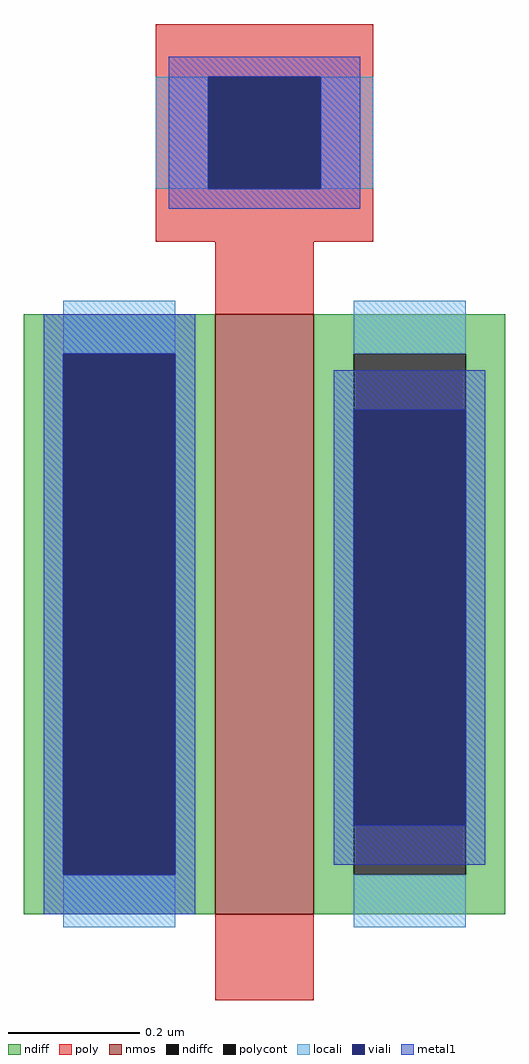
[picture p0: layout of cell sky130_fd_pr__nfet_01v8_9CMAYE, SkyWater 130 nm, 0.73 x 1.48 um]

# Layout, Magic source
magic
tech sky130A
magscale 1 2
<< nmos >>
rect -15 -122 15 60
<< ndiff >>
rect -73 48 -15 60
rect -73 -110 -61 48
rect -27 -110 -15 48
rect -73 -122 -15 -110
rect 15 48 73 60
rect 15 -110 27 48
rect 61 -110 73 48
rect 15 -122 73 -110
<< ndiffc >>
rect -61 -110 -27 48
rect 27 -110 61 48
<< poly >>
rect -33 132 33 148
rect -33 98 -17 132
rect 17 98 33 132
rect -33 82 33 98
rect -15 60 15 82
rect -15 -148 15 -122
<< polycont >>
rect -17 98 17 132
<< locali >>
rect -33 98 -17 132
rect 17 98 33 132
rect -61 48 -27 64
rect -61 -126 -27 -110
rect 27 48 61 64
rect 27 -126 61 -110
<< viali >>
rect -17 98 17 132
rect -61 -110 -27 48
rect 27 -95 61 31
<< metal1 >>
rect -29 132 29 138
rect -29 98 -17 132
rect 17 98 29 132
rect -29 92 29 98
rect -67 48 -21 60
rect -67 -110 -61 48
rect -27 -110 -21 48
rect 21 31 67 43
rect 21 -95 27 31
rect 61 -95 67 31
rect 21 -107 67 -95
rect -67 -122 -21 -110
<< properties >>
string gencell sky130_fd_pr__nfet_01v8
string library sky130
string parameters w 0.91 l 0.15 m 1 nf 1 diffcov 100 polycov 100 guard 0 glc 1 grc 1 gtc 1 gbc 1 tbcov 100 rlcov 100 topc 1 botc 0 poverlap 0 doverlap 1 lmin 0.15 wmin 0.42 compatible {sky130_fd_pr__nfet_01v8 sky130_fd_pr__nfet_01v8_lvt  sky130_fd_bs_flash__special_sonosfet_star  sky130_fd_pr__nfet_g5v0d10v5 sky130_fd_pr__nfet_05v0_nvt  sky130_fd_pr__nfet_03v3_nvt} full_metal 0 viasrc -80 viadrn 100 viagate 100 viagb 0 viagr 0 viagl 0 viagt 0
<< end >>
